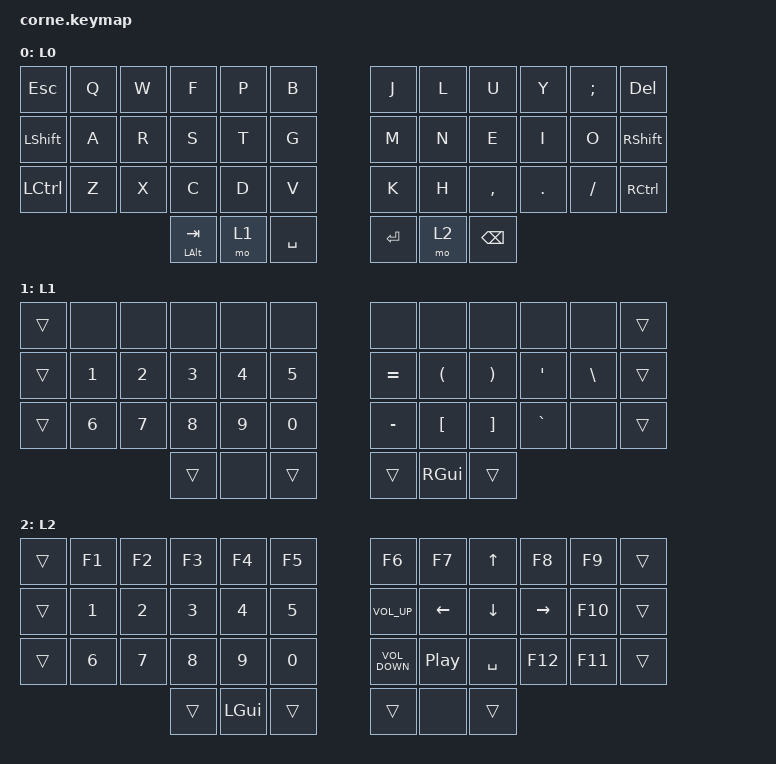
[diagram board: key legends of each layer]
/*
 * Copyright (c) 2020 The ZMK Contributors
 *
 * SPDX-License-Identifier: MIT
 */

#include <behaviors.dtsi>
#include <dt-bindings/zmk/keys.h>

/ {
    behaviors {
        hrmlg: home_row_mod_left_gui {
            compatible = "zmk,behavior-tap-dance";
            label = "HOME_ROW_MOD_LEFT_GUI";
            #binding-cells = <0>;
            bindings = <&mt LEFT_GUI A>, <&kp A>;
        };

        hrmla: home_row_mod_left_alt {
            compatible = "zmk,behavior-tap-dance";
            label = "HOME_ROW_MOD_LEFT_ALT";
            #binding-cells = <0>;
            bindings = <&mt LEFT_ALT R>, <&kp R>;
        };

        hrmls: home_row_mod_left_shift {
            compatible = "zmk,behavior-tap-dance";
            label = "HOME_ROW_MOD_LEFT_SHIFT";
            #binding-cells = <0>;
            bindings = <&mt LEFT_SHIFT S>, <&kp S>;
        };

        hrmlc: home_row_mod_left_ctrl {
            compatible = "zmk,behavior-tap-dance";
            label = "HOME_ROW_MOD_LEFT_CTRL";
            #binding-cells = <0>;
            bindings = <&mt LEFT_CONTROL T>, <&kp T>;
        };

        hrmrc: home_row_mod_right_ctrl {
            compatible = "zmk,behavior-tap-dance";
            label = "HOME_ROW_MOD_RIGHT_CTRL";
            #binding-cells = <0>;
            bindings = <&mt RIGHT_CONTROL N>, <&kp N>;
        };

        hrmrs: home_row_mod_right_shift {
            compatible = "zmk,behavior-tap-dance";
            label = "HOME_ROW_MOD_RIGHT_SHIFT";
            #binding-cells = <0>;
            bindings = <&mt RIGHT_SHIFT E>, <&kp E>;
        };

        hrmra: home_row_mod_right_alt {
            compatible = "zmk,behavior-tap-dance";
            label = "HOME_ROW_MOD_RIGHT_ALT";
            #binding-cells = <0>;
            bindings = <&mt RIGHT_ALT I>, <&kp I>;
        };

        hrmrg: home_row_mod_right_gui {
            compatible = "zmk,behavior-tap-dance";
            label = "HOME_ROW_MOD_RIGHT_GUI";
            #binding-cells = <0>;
            bindings = <&mt RIGHT_GUI O>, <&kp O>;
        };
    };

    keymap {
        compatible = "zmk,keymap";

        L0 {
            // -----------------------------------------------------------------------------------------
            // | TAB  |  Q  |  W  |  E  |  R  |    T    |   |  Y  |  U   |  I  |  O  |  P  | ESC |
            // | CTRL |  A  |  S  |  D  |  F  |    G    |   |  H  |  J   |  K  |  L  |  ;  |  LWR/'   |
            // | SHFT |  Z  |  X  |  C  |  V  |    B    |   |  N  |  M   |  ,  |  .  |  /  | SHFT |
            //                    | GUI | LWR | ALT/ENT |   | HYPER/SPC | BKSP  | RSE |

            bindings = <
&kp ESCAPE        &kp Q  &kp W  &kp F             &kp P  &kp B        &kp J      &kp L  &kp U          &kp Y    &kp SEMICOLON  &kp DELETE
&kp LEFT_SHIFT    &kp A  &kp R  &kp S             &kp T  &kp G        &kp M      &kp N  &kp E          &kp I    &kp O          &kp RIGHT_SHIFT
&kp LEFT_CONTROL  &kp Z  &kp X  &kp C             &kp D  &kp V        &kp K      &kp H  &kp COMMA      &kp DOT  &kp FSLH       &kp RIGHT_CONTROL
                                &mt LEFT_ALT TAB  &mo 1  &kp SPACE    &kp ENTER  &mo 2  &kp BACKSPACE
            >;
        };

        L1 {
            // -----------------------------------------------------------------------------------------
            // |      |  !  |  @  |  #  |  $  |    %     |   |  ^  |  &  |  *  |  (  |  )  |   \   |
            // |      |  1  |  2  |  3  |  4  |    5     |   |  -  |  =  |  `  |  [  |  ]  |  "|"  |
            // | SHFT |  6  |  7  |  8  |  9  |    0     |   |  _  |  +  |  ~  |  {  |  }  | RSHFT |
            //                     | GUI |     | ALT/ENT |   | HYPER/SPACE | BKSP |    |

            bindings = <
&trans  &none   &none   &none   &none   &none     &none      &none                 &none                  &none             &none          &trans
&trans  &kp N1  &kp N2  &kp N3  &kp N4  &kp N5    &kp EQUAL  &kp LEFT_PARENTHESIS  &kp RIGHT_PARENTHESIS  &kp SINGLE_QUOTE  &kp BACKSLASH  &trans
&trans  &kp N6  &kp N7  &kp N8  &kp N9  &kp N0    &kp MINUS  &kp LEFT_BRACKET      &kp RIGHT_BRACKET      &kp GRAVE         &none          &trans
                        &trans  &none   &trans    &trans     &kp RIGHT_GUI         &trans
            >;
        };

        L2 {
            // -----------------------------------------------------------------------------------------
            // |       |  F1  |  F2  |  F3  |  F4  |  F5 |            |  F6  |  F7  |  F8  |  F9  |  F10  |   |
            // |       | Prev | Next | Vol - | Vol + | Play/Pause |   |      | LFT | DWN |  UP | RGT |     |     |
            // | BTCLR | BT1 | BT2 | BT3 | BT4 | BT5 |   |            |     |     |     |     |     |     |
            //                    |     |     |    |                  |     |     |     |

            bindings = <
&trans  &kp F1        &kp F2        &kp F3        &kp F4        &kp F5          &kp F6             &kp F7            &kp UP     &kp F8     &kp F9   &trans
&trans  &kp NUMBER_1  &kp NUMBER_2  &kp NUMBER_3  &kp NUMBER_4  &kp NUMBER_5    &kp C_VOLUME_UP    &kp LEFT          &kp DOWN   &kp RIGHT  &kp F10  &trans
&trans  &kp NUMBER_6  &kp NUMBER_7  &kp NUMBER_8  &kp NUMBER_9  &kp NUMBER_0    &kp C_VOLUME_DOWN  &kp C_PLAY_PAUSE  &kp SPACE  &kp F12    &kp F11  &trans
                                    &trans        &kp LEFT_GUI  &trans          &trans             &none             &trans
            >;
        };
    };
};
